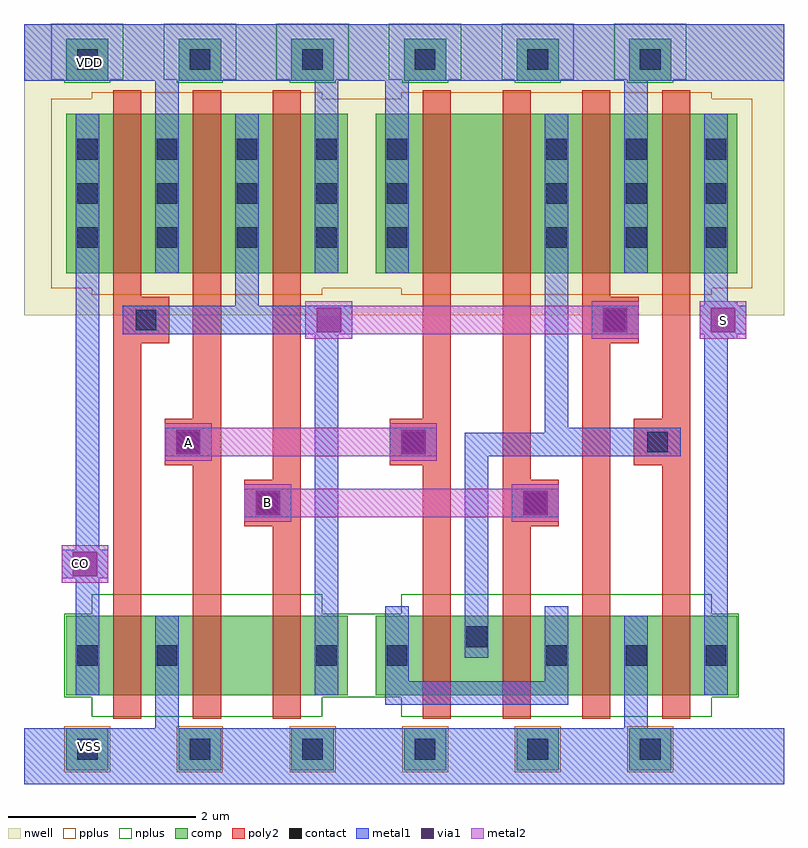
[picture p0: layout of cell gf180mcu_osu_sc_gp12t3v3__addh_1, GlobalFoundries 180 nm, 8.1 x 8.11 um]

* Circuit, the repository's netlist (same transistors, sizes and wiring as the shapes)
* Copyright 2022 Google LLC
*
* Licensed under the Apache License, Version 2.0 (the "License");
* you may not use this file except in compliance with the License.
* You may obtain a copy of the License at
*
*      http://www.apache.org/licenses/LICENSE-2.0
*
* Unless required by applicable law or agreed to in writing, software
* distributed under the License is distributed on an "AS IS" BASIS,
* WITHOUT WARRANTIES OR CONDITIONS OF ANY KIND, either express or implied.
* See the License for the specific language governing permissions and
* limitations under the License.

.inc "/import/yukari1/lrburle/OSU_180/char/techfiles/design.hspice"
.lib "/import/yukari1/lrburle/OSU_180/char/techfiles/sm141064.hspice" typical

.GLOBAL VDD
.GLOBAL VSS

.option scale=0.05u

.subckt gf180mcu_osu_sc_gp12t3v3__addh_1 A B S CO
X0 VDD B a_19_14 VDD pmos_3p3 w=34 l=6
X1 a_19_14 A VDD VDD pmos_3p3 w=34 l=6
X2 VDD a_19_14 CO VDD pmos_3p3 w=34 l=6
X3 a_19_14 B a_42_19 VSS nmos_3p3 w=17 l=6
X4 S a_91_19 VSS VSS nmos_3p3 w=17 l=6
X5 VSS a_19_14 CO VSS nmos_3p3 w=17 l=6
X6 S a_91_19 VDD VDD pmos_3p3 w=34 l=6
X7 a_91_19 B a_91_109 VDD pmos_3p3 w=34 l=6
X8 VDD a_19_14 a_91_19 VDD pmos_3p3 w=34 l=6
X9 a_91_109 A VDD VDD pmos_3p3 w=34 l=6
X10 a_91_19 A a_75_19 VSS nmos_3p3 w=17 l=6
X11 a_42_19 A VSS VSS nmos_3p3 w=17 l=6
X12 VSS a_19_14 a_75_19 VSS nmos_3p3 w=17 l=6
X13 a_75_19 B a_91_19 VSS nmos_3p3 w=17 l=6
.ends

** hspice subcircuit dictionary

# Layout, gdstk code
import gdstk
lib = gdstk.Library(unit=1e-6, precision=1e-09)
def R(c, l, rs):  # rectangles x0, y0, x1, y1
    for r in rs: c.add(gdstk.rectangle(r[:2], r[2:], *l))
def A(c, l, x, y, w, h, nx, ny, dx, dy):  # array of equal rectangles
    R(c, l, [(x+i*dx, y+j*dy, x+i*dx+w, y+j*dy+h) for i in range(nx) for j in range(ny)])
nwell = (21, 0)
comp = (22, 0)
poly2 = (30, 0)
pplus = (31, 0)
nplus = (32, 0)
contact = (33, 0)
metal1 = (34, 0)
via1 = (35, 0)
metal2 = (36, 0)

gf180mcu_osu_sc_gp12t3v3 = lib.new_cell('gf180mcu_osu_sc_gp12t3v3__addh_1')
R(gf180mcu_osu_sc_gp12t3v3, nwell, [(0,5,8.1,8.1)])
A(gf180mcu_osu_sc_gp12t3v3, comp, 0.45, 0.15, 0.45, 0.45, 6, 2, 1.2, 7.35)
R(gf180mcu_osu_sc_gp12t3v3, comp, [(0.45,0.95,3.45,1.8), (3.75,0.95,7.6,1.8), (0.45,5.45,3.45,7.15), (3.75,5.45,7.6,7.15)])
R(gf180mcu_osu_sc_gp12t3v3, poly2, [(0.95,0.7,1.25,4.7), (1.8,0.7,2.1,3.4), (2.65,0.7,2.95,2.75), (4.25,0.7,4.55,3.4), (5.1,0.7,5.4,2.75), (5.95,0.7,6.25,4.7), (6.8,0.7,7.1,3.4), (2.35,2.75,2.95,3.25), (5.1,2.75,5.7,3.25), (2.65,3.25,2.95,7.4), (5.1,3.25,5.4,7.4), (1.5,3.4,2.1,3.9), (3.9,3.4,4.55,3.9), (6.5,3.4,7.1,3.9), (1.8,3.9,2.1,7.4), (4.25,3.9,4.55,7.4), (6.8,3.9,7.1,7.4), (0.95,4.7,1.55,5.2), (5.95,4.7,6.55,5.2), (0.95,5.2,1.25,7.4), (5.95,5.2,6.25,7.4)])
A(gf180mcu_osu_sc_gp12t3v3, pplus, 0.43, 0.13, 0.49, 0.49, 6, 1, 1.2, 0)
R(gf180mcu_osu_sc_gp12t3v3, pplus, [(0.72,5.22,3.18,5.29), (4.02,5.22,7.33,5.29), (0.29,5.29,7.76,7.31), (0.72,7.31,3.18,7.38), (4.02,7.31,7.33,7.38)])
A(gf180mcu_osu_sc_gp12t3v3, nplus, 0.43, 7.48, 0.49, 0.03, 6, 1, 1.2, 0)
A(gf180mcu_osu_sc_gp12t3v3, nplus, 0.29, 7.51, 0.77, 0.6, 6, 1, 1.2, 0)
R(gf180mcu_osu_sc_gp12t3v3, nplus, [(0.72,0.72,3.18,0.93), (4.02,0.72,7.33,0.93), (0.43,0.93,7.62,1.82), (0.72,1.82,3.18,2.03), (4.02,1.82,7.33,2.03)])
A(gf180mcu_osu_sc_gp12t3v3, contact, 0.565, 0.265, 0.22, 0.22, 6, 2, 1.2, 7.35)
A(gf180mcu_osu_sc_gp12t3v3, contact, 5.565, 1.265, 0.22, 0.22, 3, 2, 0.85, 4.455)
A(gf180mcu_osu_sc_gp12t3v3, contact, 0.565, 5.72, 0.22, 0.22, 4, 3, 0.85, 0.47)
A(gf180mcu_osu_sc_gp12t3v3, contact, 3.865, 5.72, 0.22, 0.22, 1, 3, 0, 0.47)
A(gf180mcu_osu_sc_gp12t3v3, contact, 5.565, 6.19, 0.22, 0.22, 3, 2, 0.85, 0.47)
R(gf180mcu_osu_sc_gp12t3v3, contact, [(0.565,1.265,0.785,1.485), (1.415,1.265,1.635,1.485), (3.115,1.265,3.335,1.485), (3.865,1.265,4.085,1.485), (4.715,1.465,4.935,1.685), (2.49,2.89,2.71,3.11), (5.34,2.89,5.56,3.11), (1.64,3.54,1.86,3.76), (4.04,3.54,4.26,3.76), (6.64,3.54,6.86,3.76), (1.19,4.84,1.41,5.06), (6.19,4.84,6.41,5.06)])
R(gf180mcu_osu_sc_gp12t3v3, metal1, [(0,0,8.1,0.6), (1.4,0.6,1.65,1.8), (6.4,0.6,6.65,1.8), (3.85,0.85,5.8,1.1), (0.55,0.95,0.8,2.2), (3.1,0.95,3.35,4.8), (7.25,0.95,7.5,4.75), (3.85,1.1,4.1,1.9), (5.55,1.1,5.8,1.9), (4.7,1.35,4.95,3.5), (0.4,2.2,0.9,2.5), (0.55,2.5,0.8,7.15), (2.35,2.85,2.85,3.15), (5.2,2.85,5.7,3.15), (1.5,3.5,2,3.8), (3.9,3.5,4.4,3.8), (4.7,3.5,7,3.75), (5.55,3.75,7,3.8), (5.55,3.8,5.8,7.15), (7.25,4.75,7.6,4.8), (1.05,4.8,3.5,5.1), (6.05,4.8,6.55,5.1), (7.2,4.8,7.7,5.1), (2.25,5.1,2.5,7.15), (7.25,5.1,7.6,5.15), (7.25,5.15,7.5,7.15), (1.4,5.45,1.65,7.5), (3.1,5.45,3.35,7.5), (3.85,5.45,4.1,7.5), (6.4,5.45,6.65,7.5), (0,7.5,8.1,8.1)])
R(gf180mcu_osu_sc_gp12t3v3, via1, [(0.52,2.22,0.78,2.48), (2.47,2.87,2.73,3.13), (5.32,2.87,5.58,3.13), (1.62,3.52,1.88,3.78), (4.02,3.52,4.28,3.78), (3.12,4.82,3.38,5.08), (6.17,4.82,6.43,5.08), (7.32,4.82,7.58,5.08)])
R(gf180mcu_osu_sc_gp12t3v3, metal2, [(0.4,2.15,0.9,2.55), (2.35,2.8,2.85,2.85), (5.2,2.8,5.7,2.85), (2.35,2.85,5.7,3.15), (2.35,3.15,2.85,3.2), (5.2,3.15,5.7,3.2), (1.5,3.45,2,3.5), (3.9,3.45,4.4,3.5), (1.5,3.5,4.4,3.8), (1.5,3.8,2,3.85), (3.9,3.8,4.4,3.85), (3,4.75,3.5,4.8), (6.05,4.75,6.55,4.8), (7.2,4.75,7.7,5.15), (3,4.8,6.55,5.1), (3,5.1,3.5,5.15), (6.05,5.1,6.55,5.15)])
gf180mcu_osu_sc_gp12t3v3.add(gdstk.Label('VSS', (0.7,0.4), layer=34, texttype=0))
gf180mcu_osu_sc_gp12t3v3.add(gdstk.Label('VDD', (0.7,7.7), layer=34, texttype=0))
gf180mcu_osu_sc_gp12t3v3.add(gdstk.Label('A', (1.75,3.65), layer=36, texttype=10))
gf180mcu_osu_sc_gp12t3v3.add(gdstk.Label('B', (2.6,3), layer=36, texttype=10))
gf180mcu_osu_sc_gp12t3v3.add(gdstk.Label('S', (7.45,4.95), layer=36, texttype=10))
gf180mcu_osu_sc_gp12t3v3.add(gdstk.Label('CO', (0.6,2.35), layer=36, texttype=10))

lib.write_gds('gf180mcu_osu_sc_gp12t3v3__addh_1.gds')
